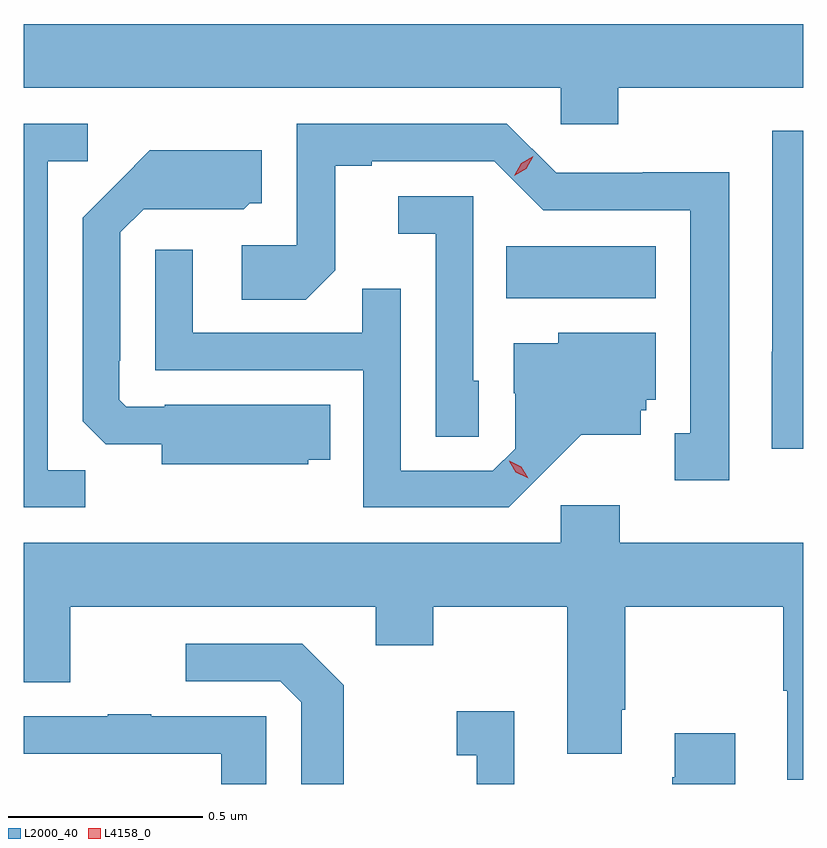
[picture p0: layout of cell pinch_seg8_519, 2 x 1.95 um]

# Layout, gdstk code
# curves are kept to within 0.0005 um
import gdstk
lib = gdstk.Library(unit=1e-6, precision=1e-09)
def R(c, l, rs):  # rectangles x0, y0, x1, y1
    for r in rs: c.add(gdstk.rectangle(r[:2], r[2:], *l))
def P(c, l, *ps):  # polygons
    for p in ps: c.add(gdstk.Polygon(p, *l))
L2000_40 = (2000, 40)
L4158_0 = (4158, 0)

pinch_seg8_519 = lib.new_cell('pinch_seg8_519')
R(pinch_seg8_519, L2000_40, [(204.856,1122.62,205.24,1122.754)])
P(pinch_seg8_519, L2000_40, [(205.143,1123.16),(205.618,1123.16),(205.618,1123.324),(203.618,1123.324),(203.618,1123.16),(204.996,1123.16),(204.996,1123.067),(205.143,1123.067)],
  [(203.775,1122.179),(203.679,1122.179),(203.679,1122.972),(203.782,1122.972),(203.782,1123.068),(203.618,1123.068),(203.618,1122.084),(203.775,1122.084)],
  [(205.429,1122.944),(205.206,1122.944),(205.206,1122.942),(204.984,1122.942),(204.858,1123.068),(204.318,1123.068),(204.318,1122.756),(204.177,1122.756),(204.177,1122.616),(204.341,1122.616),(204.417,1122.692),(204.417,1122.96),(204.511,1122.96),(204.511,1122.972),(204.825,1122.972),(204.951,1122.846),(205.328,1122.846),(205.328,1122.273),(205.289,1122.273),(205.289,1122.153),(205.429,1122.153)],
  [(205.618,1123.05),(205.539,1123.05),(205.539,1122.482),(205.538,1122.482),(205.538,1122.234),(205.618,1122.234)],
  [(204.348,1122.206),(204.404,1122.206),(204.404,1122.346),(203.98,1122.346),(203.98,1122.342),(203.88,1122.342),(203.862,1122.36),(203.862,1122.46),(203.865,1122.46),(203.865,1122.789),(203.925,1122.849),(204.048,1122.849),(204.048,1122.848),(204.182,1122.848),(204.198,1122.864),(204.229,1122.864),(204.229,1123),(203.941,1123),(203.769,1122.826),(203.769,1122.304),(203.828,1122.245),(203.972,1122.245),(203.972,1122.194),(204.348,1122.194)],
  [(204.786,1122.408),(204.771,1122.408),(204.771,1122.882),(204.579,1122.882),(204.579,1122.785),(204.675,1122.785),(204.675,1122.265),(204.786,1122.265)],
  [(204.946,1122.167),(205.049,1122.269),(205.201,1122.269),(205.201,1122.333),(205.215,1122.333),(205.215,1122.36),(205.24,1122.36),(205.24,1122.532),(204.99,1122.532),(204.99,1122.505),(204.875,1122.505),(204.875,1122.376),(204.879,1122.376),(204.879,1122.234),(204.822,1122.177),(204.585,1122.177),(204.585,1122.644),(204.487,1122.644),(204.487,1122.531),(204.051,1122.531),(204.051,1122.745),(203.955,1122.745),(203.955,1122.435),(204.489,1122.435),(204.489,1122.084),(204.862,1122.084)],
  [(205.618,1121.992),(205.148,1121.992),(205.148,1122.088),(204.996,1122.088),(204.996,1121.992),(203.618,1121.992),(203.618,1121.634),(203.737,1121.634),(203.737,1121.828),(204.521,1121.828),(204.521,1121.729),(204.669,1121.729),(204.669,1121.828),(205.013,1121.828),(205.013,1121.451),(205.153,1121.451),(205.153,1121.563),(205.161,1121.563),(205.161,1121.828),(205.567,1121.828),(205.567,1121.612),(205.577,1121.612),(205.577,1121.384),(205.618,1121.384)],
  [(204.439,1121.627),(204.333,1121.733),(204.033,1121.733),(204.033,1121.637),(204.276,1121.637),(204.33,1121.583),(204.33,1121.373),(204.439,1121.373)],
  [(204.877,1121.56),(204.729,1121.56),(204.729,1121.447),(204.78,1121.447),(204.78,1121.373),(204.877,1121.373)],
  [(204.24,1121.547),(203.945,1121.547),(203.945,1121.552),(203.833,1121.552),(203.833,1121.547),(203.618,1121.547),(203.618,1121.451),(204.124,1121.451),(204.124,1121.373),(204.24,1121.373)],
  [(205.444,1121.503),(205.289,1121.503),(205.289,1121.39),(205.282,1121.39),(205.282,1121.373),(205.444,1121.373)])
P(pinch_seg8_519, L4158_0, [(204.876,1122.934),(204.876,1122.934),(204.894,1122.966),(204.926,1122.985),(204.926,1122.985),(204.926,1122.985),(204.908,1122.953),(204.877,1122.934)],
  [(204.912,1122.158),(204.881,1122.173),(204.864,1122.202),(204.864,1122.203),(204.864,1122.203),(204.895,1122.188),(204.912,1122.158),(204.912,1122.158)])

lib.write_gds('pinch_seg8_519.gds')
